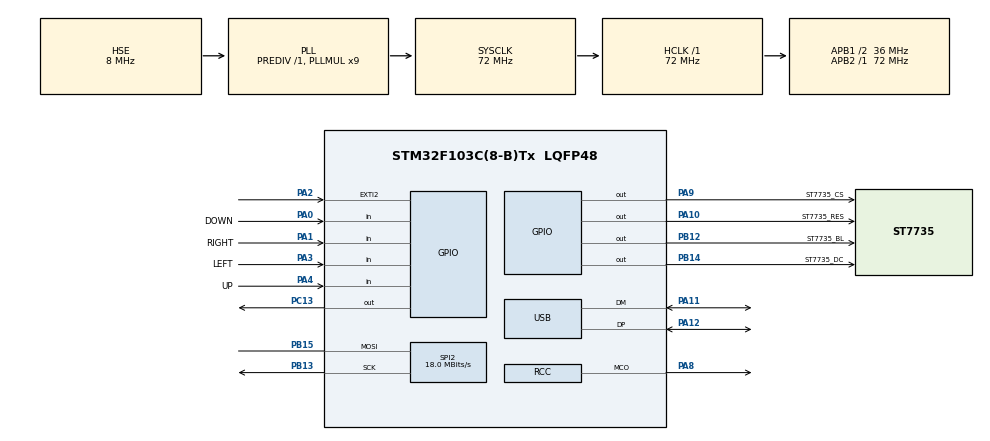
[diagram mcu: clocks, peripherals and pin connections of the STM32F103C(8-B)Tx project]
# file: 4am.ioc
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Dma.Request0=SPI2_TX
Dma.SPI2_TX.0.Direction=DMA_MEMORY_TO_PERIPH
Dma.SPI2_TX.0.Instance=DMA1_Channel5
Dma.SPI2_TX.0.MemDataAlignment=DMA_MDATAALIGN_BYTE
Dma.SPI2_TX.0.MemInc=DMA_MINC_ENABLE
Dma.SPI2_TX.0.Mode=DMA_NORMAL
Dma.SPI2_TX.0.PeriphDataAlignment=DMA_PDATAALIGN_BYTE
Dma.SPI2_TX.0.PeriphInc=DMA_PINC_DISABLE
Dma.SPI2_TX.0.Priority=DMA_PRIORITY_LOW
Mcu.Family=STM32F1
Mcu.Name=STM32F103C(8-B)Tx
Mcu.Package=LQFP48
NVIC.DMA1_Channel5_IRQn=true\:0\:0\:false\:false\:true\:false\:true\:true
NVIC.EXTI2_IRQn=true\:0\:0\:false\:false\:true\:true\:true\:true
NVIC.PriorityGroup=NVIC_PRIORITYGROUP_4
PA0-WKUP.GPIO_Label=DOWN
PA0-WKUP.Signal=GPIO_Input
PA1.GPIO_Label=RIGHT
PA1.Signal=GPIO_Input
PA10.GPIO_Label=ST7735_RES
PA10.Signal=GPIO_Output
PA11.Mode=Device
PA11.Signal=USB_DM
PA12.Mode=Device
PA12.Signal=USB_DP
PA13.Mode=Serial_Wire
PA13.Signal=SYS_JTMS-SWDIO
PA14.Mode=Serial_Wire
PA14.Signal=SYS_JTCK-SWCLK
PA2.Signal=GPXTI2
PA3.GPIO_Label=LEFT
PA3.Signal=GPIO_Input
PA4.GPIO_Label=UP
PA4.Signal=GPIO_Input
PA8.GPIO_Speed=GPIO_SPEED_FREQ_HIGH
PA8.Mode=Clock-out
PA8.Signal=RCC_MCO
PA9.GPIO_Label=ST7735_CS
PA9.Signal=GPIO_Output
PB12.GPIO_Label=ST7735_BL
PB12.Signal=GPIO_Output
PB13.Mode=Simplex_Bidirectional_Master
PB13.Signal=SPI2_SCK
PB14.GPIO_Label=ST7735_DC
PB14.Signal=GPIO_Output
PB15.Mode=Simplex_Bidirectional_Master
PB15.Signal=SPI2_MOSI
PC13-TAMPER-RTC.Signal=GPIO_Output
PD0-OSC_IN.Mode=HSE-External-Oscillator
PD0-OSC_IN.Signal=RCC_OSC_IN
PD1-OSC_OUT.Mode=HSE-External-Oscillator
PD1-OSC_OUT.Signal=RCC_OSC_OUT
ProjectManager.HeapSize=0x200
ProjectManager.StackSize=0x400
ProjectManager.TargetToolchain=STM32CubeIDE
RCC.AHBFreq_Value=72000000
RCC.APB1CLKDivider=RCC_HCLK_DIV2
RCC.APB1Freq_Value=36000000
RCC.APB1TimFreq_Value=72000000
RCC.APB2Freq_Value=72000000
RCC.APB2TimFreq_Value=72000000
RCC.HCLKFreq_Value=72000000
RCC.PLLMUL=RCC_PLL_MUL9
RCC.RCC_MCOSource=RCC_MCO1SOURCE_HSE
RCC.SYSCLKFreq_VALUE=72000000
RCC.SYSCLKSource=RCC_SYSCLKSOURCE_PLLCLK
RCC.USBFreq_Value=48000000
RCC.USBPrescaler=RCC_USBCLKSOURCE_PLL_DIV1_5
SPI2.BaudRatePrescaler=SPI_BAUDRATEPRESCALER_2
SPI2.CLKPolarity=SPI_POLARITY_HIGH
SPI2.CalculateBaudRate=18.0 MBits/s
SPI2.Direction=SPI_DIRECTION_1LINE
SPI2.Mode=SPI_MODE_MASTER
SPI2.VirtualType=VM_MASTER
board=custom

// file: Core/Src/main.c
/* USER CODE BEGIN Header */
/**
  ******************************************************************************
  * @file           : main.c
  * @brief          : Main program body
  ******************************************************************************
  * @attention
  *
  * Copyright (c) 2025 STMicroelectronics.
  * All rights reserved.
  *
  * This software is licensed under terms that can be found in the LICENSE file
  * in the root directory of this software component.
  * If no LICENSE file comes with this software, it is provided AS-IS.
  *
  ******************************************************************************
  */
/* USER CODE END Header */

//hiiii hiiiiii
#include "main.h"

/* USER CODE BEGIN Includes */
#include "st7735.h"
#include <stdlib.h>
#include "sprites.h"

/* USER CODE END Includes */

SPI_HandleTypeDef hspi2;
DMA_HandleTypeDef hdma_spi2_tx;

PCD_HandleTypeDef hpcd_USB_FS;

/* USER CODE BEGIN PV */

#define MAXBULLETS 128
#define MAXENEMYBULLETS 50

struct enemy {
	uint8_t x;
	uint8_t y;
	uint8_t isAlive;
	uint8_t isDying;
	uint8_t health;
	uint8_t sprite;
	uint8_t ticksUntilSpriteChange;
	uint8_t ticksSinceLastChange;
	int8_t dx;
	int8_t dy;
};

 struct bullet {
	uint8_t x;
	uint8_t y;
	int8_t speed;
	uint8_t isActive;
};

 struct player {
	uint8_t x;
	uint8_t y;
	int8_t dx;
	int8_t dy;
	uint8_t sprite; // 0 is normal , 1 is left orientated , 2 is right orientated
	uint8_t health;
};

struct enemyBullets {
	 uint8_t x;
	 uint8_t y;
	 int8_t dx;
	 int8_t dy;
	 uint8_t isActive;
 };

struct  bullet Bullets[MAXBULLETS];
struct enemyBullets evilBullets[MAXENEMYBULLETS];

void init_Bullets(){
	for(int i = 0 ; i < MAXBULLETS ; i++){
		Bullets[i].x = 0;
		Bullets[i].y = 0;
		Bullets[i].speed = 0;
		Bullets[i].isActive = 0;
	};
}
void init_enemyBullets(){
	for(int i = 0 ; i < MAXENEMYBULLETS ; i++){
		evilBullets[i].x = 0;
		evilBullets[i].y = 0;
		evilBullets[i].dx= 0;
		evilBullets[i].dy = 0;
		evilBullets[i].isActive= 0;
	}
}

struct enemy enemyList[20] = {
    {124, 42 , 1 , 0 , 1 , 0 , 22 , 0},
    {59, 15 , 1 , 0 , 1  , 1 , 25 , 0 },
    {44, 1 , 1 , 0  ,1 , 1 , 18 , 0},
    {102, 4 , 1 , 0, 1 , 0 , 23 , 0},
    {8, 16 , 1 , 0 , 1 , 1 , 21 , 0},
    {44, 28 , 1 , 0 ,1 ,  1 , 15 , 0},
    {24, 22 , 1 , 0 ,1 , 0 , 20 , 0},
    {111, 30 , 1 , 0 , 1 , 1 , 21 , 0},
    {87, 13 , 1 , 0 , 1 , 0 , 20 , 0},
    {81, 37 , 1 , 0 , 1, 1 , 21 , 0},
    {6, 33 , 1 , 0 , 1 , 1 , 17 , 0},
    {35, 43 , 1 , 0 , 1 , 1 , 14 , 0},
    {105, 49  , 1 , 0, 1, 1 , 25 , 0},
    {69, 48 , 1 , 0 , 1 , 1 , 20 , 0},
    {119, 15 , 1 , 0 , 1, 0 , 19 , 0},
    {71, 1 , 1 , 0 , 1 , 0 , 21 , 0},
    {24, 1 , 1 , 0 , 1 , 1 , 22 , 0},
    {127, 1 ,1 , 0 , 1 , 1 , 20 , 0},
    {19, 48 , 1 , 0, 1, 0  , 21 , 0},
    {52, 46 , 1 , 0 , 1 , 0 , 20 , 0}
};

uint8_t attackPattern[10][5] = {
    {13,  2, 18,  7, 11},
    { 0,  9,  4,  1, 17},
    { 6, 14, 19, 12,  3},
    {15,  8,  5,  2, 20},
    {16,  7, 13,  0,  6},
    {10,  4,  1, 18, 11},
    { 3,  8, 17, 12,  5},
    {14,  9,  6, 19,  2},
    { 7, 15, 19,  0, 10},
    {16,  1,  3, 13,  9}
};
struct player playerObj = {64 , 110 ,  0 , 0 , 0};

/* USER CODE END PV */

void SystemClock_Config(void);
static void MX_GPIO_Init(void);
static void MX_DMA_Init(void);
static void MX_SPI2_Init(void);
static void MX_USB_PCD_Init(void);

/* USER CODE BEGIN 0 */
//void EXTI4_IRQHandler(void){
//
//	/*if(~gameStarted){
//		gameStarted = 1;
//		EXTI->PR |= EXTI_PR_PR4;
//
//		return;
//
//	}*/
//	ST7735_FillRectangleFast(playerObj.x , playerObj.y , 9 , 9 , 0x0000);
//	playerObj.x++;
//	ST7735_DrawImage(playerObj.x , playerObj.y , 9 , 9 , player_ship_flat);
//
//	EXTI->PR |= EXTI_PR_PR4;
//
//}
uint8_t enemiesAlive = 20;

void killEnemy(struct enemy* enemy){
	enemy->isDying = 1;
	enemy->ticksSinceLastChange = 0;
	ST7735_DrawImage(enemy->x , enemy->y , 8 , 8 , enemy_ship_dying2);

}
void calculateCollisions(){
	for(int i = 0 ; i < MAXBULLETS ; i++){
		if(Bullets[i].isActive == 0){
			return;
		}

		for(int j = 0 ; j <20 ; j++){
			if(enemyList[j].isAlive == 0 || enemyList[j].isDying == 1){
				continue;
			}

			int8_t disp_x = enemyList[j].x-Bullets[i].x;
			int8_t disp_y = enemyList[j].y-Bullets[i].y;
			disp_x = abs(disp_x);
			disp_y = abs(disp_y);

			if(disp_x < 8 && disp_y < 8){
				killEnemy(&enemyList[j]);
				Bullets[i].isActive = 0;
				ST7735_DrawPixel(Bullets[i].x , Bullets[i].y , 0x0000);
				break;
			}
		}

	}
}
uint16_t playerBulletColour = 0xFFFF;
uint16_t EnemyBulletColour = 0xFFFF;

void update_Bullets(){
	for(int i = 0 ; i < MAXBULLETS ; i++){
		if(!Bullets[i].isActive){
			continue;
		}

		if(Bullets[i].y >= 128){
			Bullets[i].isActive = 0;
			ST7735_DrawPixel(Bullets[i].x , Bullets[i].y , 0x0000);
		}

		ST7735_DrawPixel(Bullets[i].x , Bullets[i].y , 0x0000);
		Bullets[i].y -= Bullets[i].speed;
		ST7735_DrawPixel(Bullets[i].x , Bullets[i].y , playerBulletColour);
	}

	for(int i = 0 ; i < MAXENEMYBULLETS ; i++){
		if(!evilBullets[i].isActive){
			continue;
		}
		if(evilBullets[i].y >= 128){
			evilBullets[i].isActive = 0;
			ST7735_DrawPixel(evilBullets[i].x , evilBullets[i].y , 0x0000);
		}

		ST7735_DrawPixel(evilBullets[i].x , evilBullets[i].y , 0x0000);
		evilBullets[i].y -= evilBullets[i].dy;
		ST7735_DrawPixel(evilBullets[i].x , evilBullets[i].y , EnemyBulletColour);

	}
}
void EXTI2_IRQHandler(void){

	/*if(~gameStarted){
		gameStarted = 1;
		EXTI->PR |= EXTI_PR_PR4;

		return;

	}*/

	for (int i = 0; i < MAXBULLETS; i++) {
	            if (!Bullets[i].isActive) {
	                Bullets[i].x = playerObj.x+5;
	                Bullets[i].y = playerObj.y+1;
	                Bullets[i].speed = 4;
	                Bullets[i].isActive = 1;
	                break;
	            }
	}

	EXTI->PR |= EXTI_PR_PR3;

}
//void EXTI1_IRQHandler(void){
//
//	/*if(~gameStarted){
//		gameStarted = 1;
//		EXTI->PR |= EXTI_PR_PR4;
//
//		return;
//
//	}*/
//
//	ST7735_FillRectangleFast(playerObj.x , playerObj.y , 9 , 9 , 0x0000);
//	playerObj.x--;
//	ST7735_DrawImage(playerObj.x , playerObj.y , 9 , 9 , player_ship_flat);
//	EXTI->PR |= EXTI_PR_PR1;
//
//}
uint8_t deathAnimationTicks = 20;
void updateEnemyStates(){
	for(int i = 0 ; i < 20 ; i++){
		if(enemyList[i].isAlive == 0){
			continue;
		}else if(enemyList[i].isDying == 1){
			if(!(enemyList[i].ticksSinceLastChange == deathAnimationTicks)) continue;
			enemyList[i].isDying++ ;
			ST7735_DrawImage(enemyList[i].x , enemyList[i].y , 8 , 8 , enemy_ship_dying2);
			enemyList[i].ticksSinceLastChange = 0;
		}else if(enemyList[i].isDying == 2){
			if(!(enemyList[i].ticksSinceLastChange == deathAnimationTicks)) continue;
			enemyList[i].isDying++ ;
			ST7735_DrawImage(enemyList[i].x , enemyList[i].y , 8 , 8 , enemy_ship_dying2);
			enemyList[i].ticksSinceLastChange = 0;
		}else if(enemyList[i].isDying == 3){
			if(!(enemyList[i].ticksSinceLastChange == deathAnimationTicks)) continue;
			enemyList[i].isAlive = 0;
			enemyList[i].isDying = 0;
			enemiesAlive--;
			ST7735_FillRectangleFast(enemyList[i].x , enemyList[i].y , 8 , 8 , 0x0000);
		}
	}
}

void updatePlayerSpeed(){
	int8_t speed = GPIOA->IDR;
	if((speed & 0x1B )== 0){
		playerObj.dx = 0;
		playerObj.dy = 0;
		return;
	}

	if(playerObj.dx == 0x2) speed &= ~(0x09);
	if(playerObj.dy == 0x2) speed &= ~(0x11);

	if(speed & DOWN_Pin) playerObj.dy++;
	if(speed & UP_Pin) playerObj.dy--;
	if(speed & LEFT_Pin) playerObj.dx--;
	if(speed & RIGHT_Pin) playerObj.dx++;
}

int checkIfOutOfBounds(){
	uint8_t futureX = playerObj.x + playerObj.dx;
	uint8_t futureY = playerObj.y + playerObj.dy;

	if(futureX >= 117) {
		return 1;
	}
	else  if(futureY >= 116){
		return 1;
	}else{
		return 0;
	}

}

void updatePlayerPosition(){
	ST7735_FillRectangleFast(playerObj.x , playerObj.y , 12 , 11 , 0x0000);

	uint8_t outofBounds = checkIfOutOfBounds();

	if(!outofBounds){
		playerObj.x += playerObj.dx ;
		playerObj.y += playerObj.dy ;
	}

	ST7735_DrawImage(playerObj.x , playerObj.y , 12 , 11 , player_ship_flat);
}
/* USER CODE END 0 */

uint8_t tickSpeed = 50;

void createEnemyBullets(uint8_t patternIteration){

	for(int k = 0; k < 5 ; k++){
		if(enemyList[attackPattern[patternIteration][k]].isAlive && !(enemyList[attackPattern[patternIteration][k]].isDying))
		for (int i = 0; i < MAXENEMYBULLETS; i++) {
		            if (!(evilBullets[i].isActive)) {
		                evilBullets[i].x = enemyList[attackPattern[patternIteration][k]].x+4;
		                evilBullets[i].y = enemyList[attackPattern[patternIteration][k]].y+9;
		                evilBullets[i].dy = -2;
		                evilBullets[i].isActive = 1;
		                break;
		            }
		}
	}

}
uint8_t negativeMask = 0x80;
void generateNewSpeeds(struct enemy* enemy) {
    // Random small values between -3 and +3
    int8_t delx = (rand() % 7) - 3;
    int8_t dely = (rand() % 7) - 3;

    enemy->dx = delx;
    enemy->dy = dely;
}

void updateEnemyAnimations(){ //Change enemy animations and also their speeds
	  for(int i = 0 ; i < 20 ; i++){
		  if(enemyList[i].isAlive == 0 || enemyList[i].isDying != 0){
			  continue;
		  }

		  if(enemyList[i].ticksSinceLastChange == enemyList[i].ticksUntilSpriteChange){
			  enemyList[i].sprite ^= 1;

			  generateNewSpeeds(&enemyList[i]);
			  enemyList[i].ticksSinceLastChange = 0;
		  }

	  }
}

void incrementTicksSinceLastAnimationChange(){
	for(int i = 0 ; i < 20 ; i++){
		enemyList[i].ticksSinceLastChange++;
	}
}

uint8_t threshold = 8;
void enemyCollisionAvoidance(struct enemy* enemy , int i ){ //i is the index of the enmey in the enemylist array
		uint8_t currentEnemyX = enemy->x;
		uint8_t currentEnemyY = enemy->y;
		uint8_t conflict = 0;

		uint8_t futureEnemyX = currentEnemyX + enemy->dx;
		uint8_t futureEnemyY = currentEnemyY + enemy->dy;

		for(int k = 0 ; k < 20 ; k++){
			if(k == i) continue;

			uint8_t delx = abs(futureEnemyX-enemyList[k].x);
			uint8_t dely = abs(futureEnemyY-enemyList[k].y);

			if((delx < threshold ) && (dely < threshold ) ){
				conflict = 1 ;
				break ; //return early without modification if overlap found
			}

		}

		if(!conflict){
			enemy->x = futureEnemyX;
			enemy->y = futureEnemyY;
		}

}
uint8_t movementTicks = 2;

int enemyOutOfBounds(struct enemy* enemy){
	uint8_t futureX = enemy->x + enemy->dx;
	uint8_t futureY = enemy->y + enemy->dy;

	if(futureX >= 120) {
		return 1;
	}
	else  if(futureY >= 120){
		return 1;
	}else{
		return 0;
	}
}
void updateEnemyPositions(){
	for(int i = 0 ; i < 20 ; i++){
		if(enemyList[i].isAlive == 0 || enemyList[i].isDying != 0){
			continue;
		}

		if(!enemyList[i].ticksSinceLastChange%movementTicks && !enemyList[i].ticksSinceLastChange){

			uint8_t outOfBounds = enemyOutOfBounds(&enemyList[i]);

			ST7735_FillRectangleFast(enemyList[i].x , enemyList[i].y , 8 , 8 , 0x0000);

			if(!outOfBounds) enemyCollisionAvoidance(&enemyList[i] , i);

			 if(!enemyList[i].sprite){
				  ST7735_DrawImage(enemyList[i].x , enemyList[i].y , 8 , 8 , enemy_ship_flat1);
			 }else{
				  ST7735_DrawImage(enemyList[i].x , enemyList[i].y , 8 , 8 , enemy_ship_flat2);
			 }

		}

	}
}
uint8_t gameState = 0 ;
void gameOverScreen(void){
	uint8_t y_upper = 64;
	uint8_t y_lower = 63;
	for(int i = 0; i < 20 ; i++ ){
		ST7735_FillRectangleFast(0 , y_upper , 128 , 1 , 0x0000);
		HAL_Delay(100);
		ST7735_FillRectangleFast(0 , y_lower , 128 , 1 , 0x0000);
		HAL_Delay(100);

		y_upper--;
		y_lower++;

	}

	ST7735_WriteString(22 , 52 , "GAME OVER" , Font_11x18 , 0xb000 , 0x0000);

	HAL_Delay(5000);

	ST7735_FillScreenFast(0x0000);
	ST7735_WriteString(9 , 64 , "Press any button" , Font_7x10 , 0xFFFF , 0x0000);
	ST7735_WriteString(22 , 74 , "to continue" , Font_7x10 , 0xFFFF , 0x0000);

	gameState = 0;
}

uint8_t playerCollisionLogic(uint8_t delx , uint8_t dely){
	if(delx < 5 && dely >5){
		return 1;
	}else if(delx > 5 && delx < 7){
		return 1;
	}else if(delx > 7 && dely > 5){
		return 1;
	}

	return 0;
}
void calculatePlayerCollisions(){
	for(int i = 0 ; i < MAXENEMYBULLETS ; i++){
		if(evilBullets[i].isActive == 0) continue;

		uint8_t delx = evilBullets[i].x - playerObj.x;
		uint8_t dely = evilBullets[i].y - playerObj.y;

		if(delx < 11 && dely < 12){
			uint8_t isHit = playerCollisionLogic(delx , dely);
			if(isHit){
				gameOverScreen();
			}
		}
	}
}

void checkForVictory(){
	if(enemiesAlive == 0){
		    uint8_t y_upper = 64;
			uint8_t y_lower = 63;
			for(int i = 0; i < 20 ; i++ ){
				ST7735_FillRectangleFast(0 , y_upper , 128 , 1 , 0x0000);
				HAL_Delay(100);
				ST7735_FillRectangleFast(0 , y_lower , 128 , 1 , 0x0000);
				HAL_Delay(100);

				y_upper--;
				y_lower++;

			}

			ST7735_WriteString(22 , 52 , "YOU WIN" , Font_11x18 , 0xffc0 , 0x0000);

			HAL_Delay(5000);

			ST7735_FillScreenFast(0x0000);
			ST7735_WriteString(9 , 64 , "Press any button" , Font_7x10 , 0xFFFF , 0x0000);
			ST7735_WriteString(22 , 74 , "to continue" , Font_7x10 , 0xFFFF , 0x0000);

			gameState = 0;
	}
}

void killAll(){
	for(int i = 0 ; i  < 20 ; i++){
		killEnemy(&enemyList[i]);
	}
}

void checkForCheats(void){
	if((GPIOA->IDR & 0x001F) == 0x001F){
		killAll();
	}
}

 //0 is the screen , 1 means its in play , 2 means you died
uint8_t ticksForAttack = 30;
int main(void)
{

  /* MCU Configuration--------------------------------------------------------*/

  /* Reset of all peripherals, Initializes the Flash interface and the Systick. */
  HAL_Init();

  /* Configure the system clock */
  SystemClock_Config();

  /* Initialize all configured peripherals */
  MX_GPIO_Init();
  MX_DMA_Init();
  MX_SPI2_Init();
  MX_USB_PCD_Init();
  /* USER CODE BEGIN 2 */
  ST7735_Init();
  ST7735_FillScreenFast(0x0000);
  ST7735_WriteString(56 , 64 , "EDW Project" , Font_16x26 , 0x4323 , 0x0000);
  HAL_Delay(3000);
  ST7735_FillScreenFast(0x0000);
  ST7735_WriteString(2,2, "Contributers:" , Font_7x10 , 0x3245 , 0x0000);
  ST7735_WriteString(2 , 22 ,"Inderpreet Singh" , Font_7x10 , 0xAE89 , 0x0000);
  ST7735_WriteString(10 , 32 ,"Design &" , Font_7x10 , 0xAE89 , 0x0000);
  ST7735_WriteString(10 , 42 ,"Programming" , Font_7x10 , 0xAE89 , 0x0000);
  ST7735_WriteString(2 , 52 ,"Yash Dharia" , Font_7x10 , 0xAE89 , 0x0000);
  ST7735_WriteString(10 , 62 ,"Enclosure Design" , Font_7x10 , 0xAE89 , 0x0000);
  ST7735_WriteString(2 , 72 ,"Anubhav" , Font_7x10 , 0xAE89 , 0x0000);
  ST7735_WriteString(10 , 82 ,"Documentation" , Font_7x10 , 0xAE89 , 0x0000);
  HAL_Delay(4000);
  ST7735_WriteString(10 , 32 ,"2023UEC2691" , Font_7x10 , 0xAE89 , 0x0000);
  ST7735_FillRectangleFast(0 , 62 , 128 , 10 , 0x0000);
  ST7735_WriteString(10 , 62 ,"2023UEC2696" , Font_7x10 , 0xAE89 , 0x0000);
  ST7735_FillRectangleFast(0 , 82 , 128 , 10 , 0x0000);
  ST7735_WriteString(10 , 82 ,"2023UEC2679" , Font_7x10 , 0xAE89 , 0x0000);
  ST7735_FillRectangleFast(0 , 42 , 128 , 10 , 0x0000);
  HAL_Delay(3000);
  ST7735_FillScreenFast(0x0000);
  ST7735_WriteString(9 , 64 , "Press any button" , Font_7x10 , 0xFFFF , 0x0000);
  ST7735_WriteString(22 , 74 , "to continue" , Font_7x10 , 0xFFFF , 0x0000);

  /* USER CODE END 2 */

  /* Infinite loop */
  /* USER CODE BEGIN WHILE */
  uint8_t timeSinceLastAttack = 1;
  uint8_t currentPatternIteration = 0;
  while (1)
  {
	  if(gameState == 0){
		  if(GPIOA->IDR & 0x001F){
			  gameState = 1;
		  }

		  continue;

	  }

	  if(gameState == 1){
		  init_Bullets();
		  init_enemyBullets();
		  ST7735_FillScreenFast(0x0000);
		  for(int i = 0 ; i <20 ; i++){
		  	  ST7735_DrawImage(enemyList[i].x , enemyList[i].y , 8 , 8 , enemy_ship_flat1 );
		    }

		    ST7735_DrawImage(playerObj.x , playerObj.y , 12 , 11 , player_ship_flat);
		    gameState = 3;
		    HAL_Delay(1000);
		    checkForCheats();
	  }

	  if(timeSinceLastAttack%ticksForAttack == 0){
		  createEnemyBullets(currentPatternIteration);
		  if(currentPatternIteration == 10){
			  currentPatternIteration = 0;
		  }
		  currentPatternIteration++;
		  timeSinceLastAttack = 1;
	  }else{
		  timeSinceLastAttack++;
	  }

	  checkForVictory();
	  updatePlayerSpeed();
	  updatePlayerPosition();
	  update_Bullets();
	  calculateCollisions();
	  calculatePlayerCollisions();
	  updateEnemyStates();
	  updateEnemyAnimations();
	  updateEnemyPositions();

	  incrementTicksSinceLastAnimationChange();

	  HAL_Delay(tickSpeed);
    /* USER CODE END WHILE */

  }
}

void SystemClock_Config(void)
{
  RCC_OscInitTypeDef RCC_OscInitStruct = {0};
  RCC_ClkInitTypeDef RCC_ClkInitStruct = {0};
  RCC_PeriphCLKInitTypeDef PeriphClkInit = {0};

  /** Initializes the RCC Oscillators according to the specified parameters
  * in the RCC_OscInitTypeDef structure.
  */
  RCC_OscInitStruct.OscillatorType = RCC_OSCILLATORTYPE_HSE;
  RCC_OscInitStruct.HSEState = RCC_HSE_ON;
  RCC_OscInitStruct.HSEPredivValue = RCC_HSE_PREDIV_DIV1;
  RCC_OscInitStruct.HSIState = RCC_HSI_ON;
  RCC_OscInitStruct.PLL.PLLState = RCC_PLL_ON;
  RCC_OscInitStruct.PLL.PLLSource = RCC_PLLSOURCE_HSE;
  RCC_OscInitStruct.PLL.PLLMUL = RCC_PLL_MUL9;
  if (HAL_RCC_OscConfig(&RCC_OscInitStruct) != HAL_OK)
  {
    Error_Handler();
  }

  /** Initializes the CPU, AHB and APB buses clocks
  */
  RCC_ClkInitStruct.ClockType = RCC_CLOCKTYPE_HCLK|RCC_CLOCKTYPE_SYSCLK
                              |RCC_CLOCKTYPE_PCLK1|RCC_CLOCKTYPE_PCLK2;
  RCC_ClkInitStruct.SYSCLKSource = RCC_SYSCLKSOURCE_PLLCLK;
  RCC_ClkInitStruct.AHBCLKDivider = RCC_SYSCLK_DIV1;
  RCC_ClkInitStruct.APB1CLKDivider = RCC_HCLK_DIV2;
  RCC_ClkInitStruct.APB2CLKDivider = RCC_HCLK_DIV1;

  if (HAL_RCC_ClockConfig(&RCC_ClkInitStruct, FLASH_LATENCY_2) != HAL_OK)
  {
    Error_Handler();
  }
  PeriphClkInit.PeriphClockSelection = RCC_PERIPHCLK_USB;
  PeriphClkInit.UsbClockSelection = RCC_USBCLKSOURCE_PLL_DIV1_5;
  if (HAL_RCCEx_PeriphCLKConfig(&PeriphClkInit) != HAL_OK)
  {
    Error_Handler();
  }
  HAL_RCC_MCOConfig(RCC_MCO, RCC_MCO1SOURCE_HSE, RCC_MCODIV_1);
}

static void MX_SPI2_Init(void)
{

  /* SPI2 parameter configuration*/
  hspi2.Instance = SPI2;
  hspi2.Init.Mode = SPI_MODE_MASTER;
  hspi2.Init.Direction = SPI_DIRECTION_1LINE;
  hspi2.Init.DataSize = SPI_DATASIZE_8BIT;
  hspi2.Init.CLKPolarity = SPI_POLARITY_HIGH;
  hspi2.Init.CLKPhase = SPI_PHASE_1EDGE;
  hspi2.Init.NSS = SPI_NSS_SOFT;
  hspi2.Init.BaudRatePrescaler = SPI_BAUDRATEPRESCALER_2;
  hspi2.Init.FirstBit = SPI_FIRSTBIT_MSB;
  hspi2.Init.TIMode = SPI_TIMODE_DISABLE;
  hspi2.Init.CRCCalculation = SPI_CRCCALCULATION_DISABLE;
  hspi2.Init.CRCPolynomial = 10;
  if (HAL_SPI_Init(&hspi2) != HAL_OK)
  {
    Error_Handler();
  }

}

static void MX_USB_PCD_Init(void)
{

  hpcd_USB_FS.Instance = USB;
  hpcd_USB_FS.Init.dev_endpoints = 8;
  hpcd_USB_FS.Init.speed = PCD_SPEED_FULL;
  hpcd_USB_FS.Init.low_power_enable = DISABLE;
  hpcd_USB_FS.Init.lpm_enable = DISABLE;
  hpcd_USB_FS.Init.battery_charging_enable = DISABLE;
  if (HAL_PCD_Init(&hpcd_USB_FS) != HAL_OK)
  {
    Error_Handler();
  }

}

static void MX_DMA_Init(void)
{

  /* DMA controller clock enable */
  __HAL_RCC_DMA1_CLK_ENABLE();

  /* DMA interrupt init */
  /* DMA1_Channel5_IRQn interrupt configuration */
  HAL_NVIC_SetPriority(DMA1_Channel5_IRQn, 0, 0);
  HAL_NVIC_EnableIRQ(DMA1_Channel5_IRQn);

}

static void MX_GPIO_Init(void)
{
  GPIO_InitTypeDef GPIO_InitStruct = {0};

  /* GPIO Ports Clock Enable */
  __HAL_RCC_GPIOC_CLK_ENABLE();
  __HAL_RCC_GPIOD_CLK_ENABLE();
  __HAL_RCC_GPIOA_CLK_ENABLE();
  __HAL_RCC_GPIOB_CLK_ENABLE();

  /*Configure GPIO pin Output Level */
  HAL_GPIO_WritePin(GPIOC, GPIO_PIN_13, GPIO_PIN_RESET);

  /*Configure GPIO pin Output Level */
  HAL_GPIO_WritePin(GPIOB, ST7735_BL_Pin|ST7735_DC_Pin, GPIO_PIN_RESET);

  /*Configure GPIO pin Output Level */
  HAL_GPIO_WritePin(GPIOA, ST7735_CS_Pin|ST7735_RES_Pin, GPIO_PIN_RESET);

  /*Configure GPIO pin : PC13 */
  GPIO_InitStruct.Pin = GPIO_PIN_13;
  GPIO_InitStruct.Mode = GPIO_MODE_OUTPUT_PP;
  GPIO_InitStruct.Pull = GPIO_NOPULL;
  GPIO_InitStruct.Speed = GPIO_SPEED_FREQ_LOW;
  HAL_GPIO_Init(GPIOC, &GPIO_InitStruct);

  /*Configure GPIO pins : DOWN_Pin RIGHT_Pin LEFT_Pin UP_Pin */
  GPIO_InitStruct.Pin = DOWN_Pin|RIGHT_Pin|LEFT_Pin|UP_Pin;
  GPIO_InitStruct.Mode = GPIO_MODE_INPUT;
  GPIO_InitStruct.Pull = GPIO_NOPULL;
  HAL_GPIO_Init(GPIOA, &GPIO_InitStruct);

  /*Configure GPIO pin : PA2 */
  GPIO_InitStruct.Pin = GPIO_PIN_2;
  GPIO_InitStruct.Mode = GPIO_MODE_IT_RISING;
  GPIO_InitStruct.Pull = GPIO_NOPULL;
  HAL_GPIO_Init(GPIOA, &GPIO_InitStruct);

  /*Configure GPIO pins : ST7735_BL_Pin ST7735_DC_Pin */
  GPIO_InitStruct.Pin = ST7735_BL_Pin|ST7735_DC_Pin;
  GPIO_InitStruct.Mode = GPIO_MODE_OUTPUT_PP;
  GPIO_InitStruct.Pull = GPIO_NOPULL;
  GPIO_InitStruct.Speed = GPIO_SPEED_FREQ_LOW;
  HAL_GPIO_Init(GPIOB, &GPIO_InitStruct);

  /*Configure GPIO pin : PA8 */
  GPIO_InitStruct.Pin = GPIO_PIN_8;
  GPIO_InitStruct.Mode = GPIO_MODE_AF_PP;
  GPIO_InitStruct.Speed = GPIO_SPEED_FREQ_HIGH;
  HAL_GPIO_Init(GPIOA, &GPIO_InitStruct);

  /*Configure GPIO pins : ST7735_CS_Pin ST7735_RES_Pin */
  GPIO_InitStruct.Pin = ST7735_CS_Pin|ST7735_RES_Pin;
  GPIO_InitStruct.Mode = GPIO_MODE_OUTPUT_PP;
  GPIO_InitStruct.Pull = GPIO_NOPULL;
  GPIO_InitStruct.Speed = GPIO_SPEED_FREQ_LOW;
  HAL_GPIO_Init(GPIOA, &GPIO_InitStruct);

  /* EXTI interrupt init*/
  HAL_NVIC_SetPriority(EXTI2_IRQn, 0, 0);
  HAL_NVIC_EnableIRQ(EXTI2_IRQn);

}

void Error_Handler(void)
{
  __disable_irq();
  while (1)
  {
  }
}
